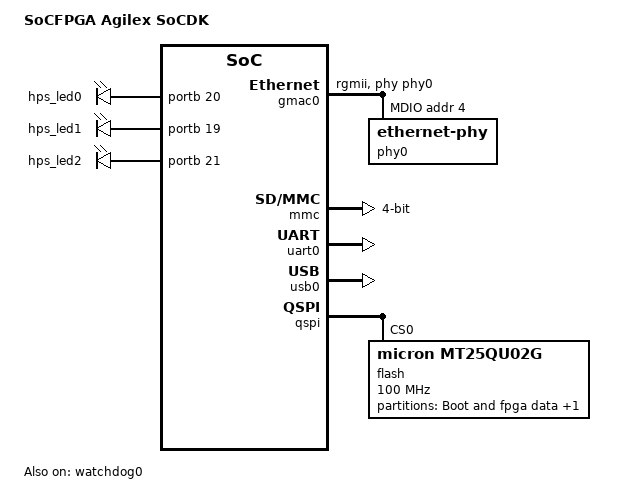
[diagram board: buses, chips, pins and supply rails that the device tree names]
// SPDX-License-Identifier:     GPL-2.0
/*
 * Copyright (C) 2019, Intel Corporation
 */
#include "socfpga_agilex.dtsi"

/ {
	model = "SoCFPGA Agilex SoCDK";
	compatible = "intel,socfpga-agilex-socdk", "intel,socfpga-agilex";

	aliases {
		serial0 = &uart0;
		ethernet0 = &gmac0;
		ethernet1 = &gmac1;
		ethernet2 = &gmac2;
	};

	chosen {
		stdout-path = "serial0:115200n8";
	};

	leds {
		compatible = "gpio-leds";
		led0 {
			label = "hps_led0";
			gpios = <&portb 20 GPIO_ACTIVE_HIGH>;
		};

		led1 {
			label = "hps_led1";
			gpios = <&portb 19 GPIO_ACTIVE_HIGH>;
		};

		led2 {
			label = "hps_led2";
			gpios = <&portb 21 GPIO_ACTIVE_HIGH>;
		};
	};

	memory@80000000 {
		device_type = "memory";
		/* We expect the bootloader to fill in the reg */
		reg = <0 0x80000000 0 0>;
	};
};

&gpio1 {
	status = "okay";
};

&gmac0 {
	status = "okay";
	phy-mode = "rgmii";
	phy-handle = <&phy0>;

	max-frame-size = <9000>;

	mdio0 {
		#address-cells = <1>;
		#size-cells = <0>;
		compatible = "snps,dwmac-mdio";
		phy0: ethernet-phy@0 {
			reg = <4>;

			txd0-skew-ps = <0>; /* -420ps */
			txd1-skew-ps = <0>; /* -420ps */
			txd2-skew-ps = <0>; /* -420ps */
			txd3-skew-ps = <0>; /* -420ps */
			rxd0-skew-ps = <420>; /* 0ps */
			rxd1-skew-ps = <420>; /* 0ps */
			rxd2-skew-ps = <420>; /* 0ps */
			rxd3-skew-ps = <420>; /* 0ps */
			txen-skew-ps = <0>; /* -420ps */
			txc-skew-ps = <900>; /* 0ps */
			rxdv-skew-ps = <420>; /* 0ps */
			rxc-skew-ps = <1680>; /* 780ps */
		};
	};
};

&mmc {
	status = "okay";
	cap-sd-highspeed;
	broken-cd;
	bus-width = <4>;
	clk-phase-sd-hs = <0>, <135>;
};

&osc1 {
	clock-frequency = <25000000>;
};

&uart0 {
	status = "okay";
};

&usb0 {
	status = "okay";
	disable-over-current;
};

&watchdog0 {
	status = "okay";
};

&qspi {
	status = "okay";
	flash@0 {
		compatible = "micron,mt25qu02g", "jedec,spi-nor";
		reg = <0>;
		spi-max-frequency = <100000000>;

		m25p,fast-read;
		cdns,read-delay = <2>;
		cdns,tshsl-ns = <50>;
		cdns,tsd2d-ns = <50>;
		cdns,tchsh-ns = <4>;
		cdns,tslch-ns = <4>;

		partitions {
			compatible = "fixed-partitions";
			#address-cells = <1>;
			#size-cells = <1>;

			qspi_boot: partition@0 {
				label = "Boot and fpga data";
				reg = <0x0 0x04200000>;
			};

			root: partition@4200000 {
				label = "Root Filesystem - UBIFS";
				reg = <0x04200000 0x0BE00000>;
			};
		};
	};
};
